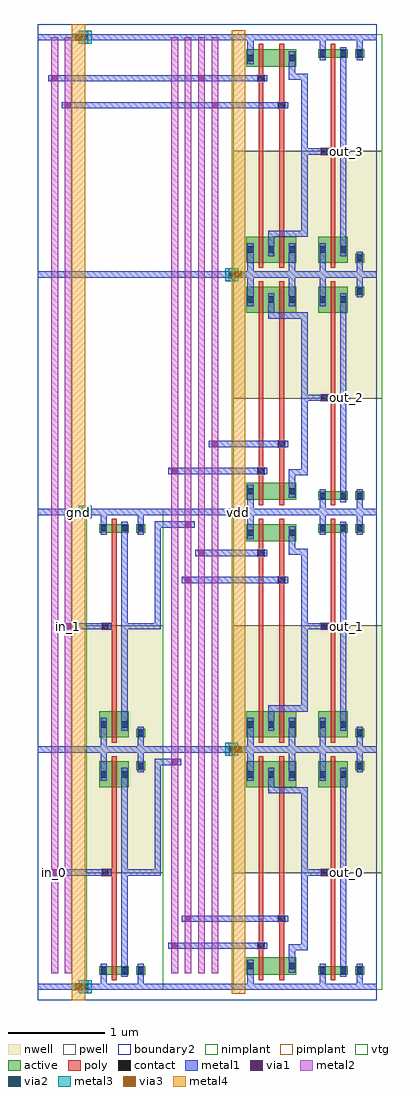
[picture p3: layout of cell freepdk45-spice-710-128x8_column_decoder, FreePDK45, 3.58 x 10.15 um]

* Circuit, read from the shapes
.subckt freepdk45-spice-710-128x8_column_decoder gnd in_0 in_1 out_0 out_1 out_2 out_3 vdd
M1 freepdk45-spice-710-128x8_hierarchical_predecode2x4_0_0/freepdk45-spice-710-128x8_pand2_2/A in_0 gnd gnd nfet w=0.09u l=0.05u
M2 freepdk45-spice-710-128x8_hierarchical_predecode2x4_0_0/freepdk45-spice-710-128x8_pand2_2/B in_1 gnd gnd nfet w=0.09u l=0.05u
M3 freepdk45-spice-710-128x8_hierarchical_predecode2x4_0_0/freepdk45-spice-710-128x8_pand2_2/freepdk45-spice-710-128x8_pnand2_0_0/freepdk45-spice-710-128x8_nmos_m1_w0_180_sm1_dactive_2/D freepdk45-spice-710-128x8_hierarchical_predecode2x4_0_0/freepdk45-spice-710-128x8_pand2_2/A gnd gnd nfet w=0.18u l=0.05u
M4 freepdk45-spice-710-128x8_hierarchical_predecode2x4_0_0/freepdk45-spice-710-128x8_pand2_3/freepdk45-spice-710-128x8_pnand2_0_0/freepdk45-spice-710-128x8_nmos_m1_w0_180_sm1_dactive_2/D in_0 gnd gnd nfet w=0.18u l=0.05u
M5 freepdk45-spice-710-128x8_hierarchical_predecode2x4_0_0/freepdk45-spice-710-128x8_pand2_4/freepdk45-spice-710-128x8_pnand2_0_0/freepdk45-spice-710-128x8_nmos_m1_w0_180_sm1_dactive_2/D freepdk45-spice-710-128x8_hierarchical_predecode2x4_0_0/freepdk45-spice-710-128x8_pand2_2/A gnd gnd nfet w=0.18u l=0.05u
M6 freepdk45-spice-710-128x8_hierarchical_predecode2x4_0_0/freepdk45-spice-710-128x8_pand2_5/freepdk45-spice-710-128x8_pnand2_0_0/freepdk45-spice-710-128x8_nmos_m1_w0_180_sm1_dactive_2/D in_0 gnd gnd nfet w=0.18u l=0.05u
M7 freepdk45-spice-710-128x8_hierarchical_predecode2x4_0_0/freepdk45-spice-710-128x8_pand2_2/freepdk45-spice-710-128x8_pdriver_1/A freepdk45-spice-710-128x8_hierarchical_predecode2x4_0_0/freepdk45-spice-710-128x8_pand2_2/B freepdk45-spice-710-128x8_hierarchical_predecode2x4_0_0/freepdk45-spice-710-128x8_pand2_2/freepdk45-spice-710-128x8_pnand2_0_0/freepdk45-spice-710-128x8_nmos_m1_w0_180_sm1_dactive_2/D gnd nfet w=0.18u l=0.05u
M8 freepdk45-spice-710-128x8_hierarchical_predecode2x4_0_0/freepdk45-spice-710-128x8_pand2_3/freepdk45-spice-710-128x8_pdriver_1/A freepdk45-spice-710-128x8_hierarchical_predecode2x4_0_0/freepdk45-spice-710-128x8_pand2_2/B freepdk45-spice-710-128x8_hierarchical_predecode2x4_0_0/freepdk45-spice-710-128x8_pand2_3/freepdk45-spice-710-128x8_pnand2_0_0/freepdk45-spice-710-128x8_nmos_m1_w0_180_sm1_dactive_2/D gnd nfet w=0.18u l=0.05u
M9 freepdk45-spice-710-128x8_hierarchical_predecode2x4_0_0/freepdk45-spice-710-128x8_pand2_4/freepdk45-spice-710-128x8_pdriver_1/A in_1 freepdk45-spice-710-128x8_hierarchical_predecode2x4_0_0/freepdk45-spice-710-128x8_pand2_4/freepdk45-spice-710-128x8_pnand2_0_0/freepdk45-spice-710-128x8_nmos_m1_w0_180_sm1_dactive_2/D gnd nfet w=0.18u l=0.05u
M10 freepdk45-spice-710-128x8_hierarchical_predecode2x4_0_0/freepdk45-spice-710-128x8_pand2_5/freepdk45-spice-710-128x8_pdriver_1/A in_1 freepdk45-spice-710-128x8_hierarchical_predecode2x4_0_0/freepdk45-spice-710-128x8_pand2_5/freepdk45-spice-710-128x8_pnand2_0_0/freepdk45-spice-710-128x8_nmos_m1_w0_180_sm1_dactive_2/D gnd nfet w=0.18u l=0.05u
M11 out_0 freepdk45-spice-710-128x8_hierarchical_predecode2x4_0_0/freepdk45-spice-710-128x8_pand2_2/freepdk45-spice-710-128x8_pdriver_1/A gnd gnd nfet w=0.09u l=0.05u
M12 out_1 freepdk45-spice-710-128x8_hierarchical_predecode2x4_0_0/freepdk45-spice-710-128x8_pand2_3/freepdk45-spice-710-128x8_pdriver_1/A gnd gnd nfet w=0.09u l=0.05u
M13 out_2 freepdk45-spice-710-128x8_hierarchical_predecode2x4_0_0/freepdk45-spice-710-128x8_pand2_4/freepdk45-spice-710-128x8_pdriver_1/A gnd gnd nfet w=0.09u l=0.05u
M14 out_3 freepdk45-spice-710-128x8_hierarchical_predecode2x4_0_0/freepdk45-spice-710-128x8_pand2_5/freepdk45-spice-710-128x8_pdriver_1/A gnd gnd nfet w=0.09u l=0.05u
M15 freepdk45-spice-710-128x8_hierarchical_predecode2x4_0_0/freepdk45-spice-710-128x8_pand2_2/A in_0 vdd vdd pfet w=0.27u l=0.05u
M16 freepdk45-spice-710-128x8_hierarchical_predecode2x4_0_0/freepdk45-spice-710-128x8_pand2_2/B in_1 vdd vdd pfet w=0.27u l=0.05u
M17 freepdk45-spice-710-128x8_hierarchical_predecode2x4_0_0/freepdk45-spice-710-128x8_pand2_2/freepdk45-spice-710-128x8_pdriver_1/A freepdk45-spice-710-128x8_hierarchical_predecode2x4_0_0/freepdk45-spice-710-128x8_pand2_2/A vdd vdd pfet w=0.27u l=0.05u
M18 freepdk45-spice-710-128x8_hierarchical_predecode2x4_0_0/freepdk45-spice-710-128x8_pand2_3/freepdk45-spice-710-128x8_pdriver_1/A in_0 vdd vdd pfet w=0.27u l=0.05u
M19 freepdk45-spice-710-128x8_hierarchical_predecode2x4_0_0/freepdk45-spice-710-128x8_pand2_4/freepdk45-spice-710-128x8_pdriver_1/A freepdk45-spice-710-128x8_hierarchical_predecode2x4_0_0/freepdk45-spice-710-128x8_pand2_2/A vdd vdd pfet w=0.27u l=0.05u
M20 freepdk45-spice-710-128x8_hierarchical_predecode2x4_0_0/freepdk45-spice-710-128x8_pand2_5/freepdk45-spice-710-128x8_pdriver_1/A in_0 vdd vdd pfet w=0.27u l=0.05u
M21 vdd freepdk45-spice-710-128x8_hierarchical_predecode2x4_0_0/freepdk45-spice-710-128x8_pand2_2/B freepdk45-spice-710-128x8_hierarchical_predecode2x4_0_0/freepdk45-spice-710-128x8_pand2_2/freepdk45-spice-710-128x8_pdriver_1/A vdd pfet w=0.27u l=0.05u
M22 vdd freepdk45-spice-710-128x8_hierarchical_predecode2x4_0_0/freepdk45-spice-710-128x8_pand2_2/B freepdk45-spice-710-128x8_hierarchical_predecode2x4_0_0/freepdk45-spice-710-128x8_pand2_3/freepdk45-spice-710-128x8_pdriver_1/A vdd pfet w=0.27u l=0.05u
M23 vdd in_1 freepdk45-spice-710-128x8_hierarchical_predecode2x4_0_0/freepdk45-spice-710-128x8_pand2_4/freepdk45-spice-710-128x8_pdriver_1/A vdd pfet w=0.27u l=0.05u
M24 vdd in_1 freepdk45-spice-710-128x8_hierarchical_predecode2x4_0_0/freepdk45-spice-710-128x8_pand2_5/freepdk45-spice-710-128x8_pdriver_1/A vdd pfet w=0.27u l=0.05u
M25 out_0 freepdk45-spice-710-128x8_hierarchical_predecode2x4_0_0/freepdk45-spice-710-128x8_pand2_2/freepdk45-spice-710-128x8_pdriver_1/A vdd vdd pfet w=0.27u l=0.05u
M26 out_1 freepdk45-spice-710-128x8_hierarchical_predecode2x4_0_0/freepdk45-spice-710-128x8_pand2_3/freepdk45-spice-710-128x8_pdriver_1/A vdd vdd pfet w=0.27u l=0.05u
M27 out_2 freepdk45-spice-710-128x8_hierarchical_predecode2x4_0_0/freepdk45-spice-710-128x8_pand2_4/freepdk45-spice-710-128x8_pdriver_1/A vdd vdd pfet w=0.27u l=0.05u
M28 out_3 freepdk45-spice-710-128x8_hierarchical_predecode2x4_0_0/freepdk45-spice-710-128x8_pand2_5/freepdk45-spice-710-128x8_pdriver_1/A vdd vdd pfet w=0.27u l=0.05u
.ends

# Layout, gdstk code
import gdstk
lib = gdstk.Library(unit=1e-6, precision=5e-10)
def R(c, l, rs):  # rectangles x0, y0, x1, y1
    for r in rs: c.add(gdstk.rectangle(r[:2], r[2:], *l))
def A(c, l, x, y, w, h, nx, ny, dx, dy):  # array of equal rectangles
    R(c, l, [(x+i*dx, y+j*dy, x+i*dx+w, y+j*dy+h) for i in range(nx) for j in range(ny)])
active = (1, 0)
pwell = (2, 0)
nwell = (3, 0)
nimplant = (4, 0)
pimplant = (5, 0)
vtg = (6, 0)
poly = (9, 0)
contact = (10, 0)
metal1 = (11, 0)
via1 = (12, 0)
metal2 = (13, 0)
via2 = (14, 0)
metal3 = (15, 0)
via3 = (16, 0)
metal4 = (17, 0)
boundary2 = (239, 0)

freepdk45_spice_710_128x = lib.new_cell('freepdk45-spice-710-128x8_contact_11')
R(freepdk45_spice_710_128x, active, [(0,0.0225,0.09,0.1125)])
R(freepdk45_spice_710_128x, nwell, [(-0.055,-0.0325,0.145,0.1675)])
R(freepdk45_spice_710_128x, pimplant, [(0,0.0225,0.09,0.1125)])
R(freepdk45_spice_710_128x, contact, [(0.0125,0.035,0.0775,0.1)])
R(freepdk45_spice_710_128x, metal1, [(0.0125,0,0.0775,0.135)])
R(freepdk45_spice_710_128x, boundary2, [(-0.055,-0.0325,0.145,0.1675)])

c_freepdk45_spice_710_128x = lib.new_cell('freepdk45-spice-710-128x8_pmos_m1_w0_270_sm1_dm1_da_p')
R(c_freepdk45_spice_710_128x, active, [(0,0,0.305,0.27)])
R(c_freepdk45_spice_710_128x, nwell, [(-0.08,-0.08,0.385,0.35)])
R(c_freepdk45_spice_710_128x, pimplant, [(0,0,0.305,0.27)])
R(c_freepdk45_spice_710_128x, vtg, [(-0.08,-0.08,0.385,0.35)])
R(c_freepdk45_spice_710_128x, poly, [(0.1275,-0.055,0.1775,0.325), (0.1275,-0.055,0.1775,0.325)])
R(c_freepdk45_spice_710_128x, metal1, [(0.0125,0.0675,0.0775,0.2025), (0.2275,0.0675,0.2925,0.2025)])
R(c_freepdk45_spice_710_128x, boundary2, [(-0.08,-0.08,0.385,0.35)])
c_freepdk45_spice_710_128x.add(gdstk.Reference(freepdk45_spice_710_128x, (0,0.0675)))
c_freepdk45_spice_710_128x.add(gdstk.Reference(freepdk45_spice_710_128x, (0.215,0.0675)))
c_freepdk45_spice_710_128x.add(gdstk.Label('G', (0.1525,0.135), layer=9, texttype=0))
c_freepdk45_spice_710_128x.add(gdstk.Label('S', (0.045,0.135), layer=11, texttype=0))
c_freepdk45_spice_710_128x.add(gdstk.Label('D', (0.26,0.135), layer=11, texttype=0))

c_freepdk45_spice_710_128x_ = lib.new_cell('freepdk45-spice-710-128x8_contact_10')
R(c_freepdk45_spice_710_128x_, active, [(0,0.0225,0.09,0.1125)])
R(c_freepdk45_spice_710_128x_, pwell, [(-0.055,-0.0325,0.145,0.1675)])
R(c_freepdk45_spice_710_128x_, nimplant, [(0,0.0225,0.09,0.1125)])
R(c_freepdk45_spice_710_128x_, contact, [(0.0125,0.035,0.0775,0.1)])
R(c_freepdk45_spice_710_128x_, metal1, [(0.0125,0,0.0775,0.135)])
R(c_freepdk45_spice_710_128x_, boundary2, [(-0.055,-0.0325,0.145,0.1675)])

c_freepdk45_spice_710_128x__ = lib.new_cell('freepdk45-spice-710-128x8_nmos_m1_w0_090_sm1_dm1_da_p')
R(c_freepdk45_spice_710_128x__, active, [(0,0,0.305,0.09)])
R(c_freepdk45_spice_710_128x__, pwell, [(-0.08,-0.08,0.385,0.17)])
R(c_freepdk45_spice_710_128x__, nimplant, [(0,0,0.305,0.09)])
R(c_freepdk45_spice_710_128x__, vtg, [(-0.08,-0.08,0.385,0.17)])
R(c_freepdk45_spice_710_128x__, poly, [(0.1275,-0.055,0.1775,0.145), (0.1275,-0.055,0.1775,0.145)])
R(c_freepdk45_spice_710_128x__, metal1, [(0.0125,-0.0225,0.0775,0.1125), (0.2275,-0.0225,0.2925,0.1125)])
R(c_freepdk45_spice_710_128x__, boundary2, [(-0.08,-0.08,0.385,0.17)])
c_freepdk45_spice_710_128x__.add(gdstk.Reference(c_freepdk45_spice_710_128x_, (0,-0.0225)))
c_freepdk45_spice_710_128x__.add(gdstk.Reference(c_freepdk45_spice_710_128x_, (0.215,-0.0225)))
c_freepdk45_spice_710_128x__.add(gdstk.Label('G', (0.1525,0.045), layer=9, texttype=0))
c_freepdk45_spice_710_128x__.add(gdstk.Label('S', (0.045,0.045), layer=11, texttype=0))
c_freepdk45_spice_710_128x__.add(gdstk.Label('D', (0.26,0.045), layer=11, texttype=0))

c_freepdk45_spice_710_128x___ = lib.new_cell('freepdk45-spice-710-128x8_contact_12')
R(c_freepdk45_spice_710_128x___, active, [(0,0.0225,0.09,0.1125)])
R(c_freepdk45_spice_710_128x___, nwell, [(-0.055,-0.0325,0.145,0.1675)])
R(c_freepdk45_spice_710_128x___, nimplant, [(0,0.0225,0.09,0.1125)])
R(c_freepdk45_spice_710_128x___, contact, [(0.0125,0.035,0.0775,0.1)])
R(c_freepdk45_spice_710_128x___, metal1, [(0.0125,0,0.0775,0.135)])
R(c_freepdk45_spice_710_128x___, boundary2, [(-0.055,-0.0325,0.145,0.1675)])

c_freepdk45_spice_710_128x____ = lib.new_cell('freepdk45-spice-710-128x8_contact_13')
R(c_freepdk45_spice_710_128x____, active, [(0,0.0225,0.09,0.1125)])
R(c_freepdk45_spice_710_128x____, pwell, [(-0.055,-0.0325,0.145,0.1675)])
R(c_freepdk45_spice_710_128x____, pimplant, [(0,0.0225,0.09,0.1125)])
R(c_freepdk45_spice_710_128x____, contact, [(0.0125,0.035,0.0775,0.1)])
R(c_freepdk45_spice_710_128x____, metal1, [(0.0125,0,0.0775,0.135)])
R(c_freepdk45_spice_710_128x____, boundary2, [(-0.055,-0.0325,0.145,0.1675)])

c_freepdk45_spice_710_128x_____ = lib.new_cell('freepdk45-spice-710-128x8_contact_14')
R(c_freepdk45_spice_710_128x_____, poly, [(0.03,0,0.105,0.075)])
R(c_freepdk45_spice_710_128x_____, contact, [(0.035,0.005,0.1,0.07)])
R(c_freepdk45_spice_710_128x_____, metal1, [(0,0.005,0.135,0.07)])
R(c_freepdk45_spice_710_128x_____, boundary2, [(0,0,0.135,0.075)])

c_freepdk45_spice_710_128x______ = lib.new_cell('freepdk45-spice-710-128x8_pinv_2')
R(c_freepdk45_spice_710_128x______, pwell, [(-0.055,-0.0325,0.7425,1.185)])
R(c_freepdk45_spice_710_128x______, nwell, [(-0.055,1.185,0.7425,2.505)])
R(c_freepdk45_spice_710_128x______, vtg, [(-0.055,-0.0325,0.7425,1.185), (-0.055,1.185,0.7425,2.505)])
R(c_freepdk45_spice_710_128x______, poly, [(0.2075,0.27,0.2575,2.02), (0.14,1.1525,0.2075,1.2275)])
R(c_freepdk45_spice_710_128x______, metal1, [(0,-0.0325,0.6875,0.0325), (0.0925,-0.0325,0.1575,0.1025), (0.4775,0,0.5425,0.17), (0.3075,0.1025,0.3725,2.2775), (0.0725,1.1575,0.2075,1.2225), (0.34,1.1575,0.405,1.2225), (0.0925,2.1425,0.1575,2.5025), (0.4775,2.3,0.5425,2.47), (0,2.4375,0.6875,2.5025)])
R(c_freepdk45_spice_710_128x______, boundary2, [(0,0,0.6875,2.47), (0,0,0.6875,2.47)])
c_freepdk45_spice_710_128x______.add(gdstk.Reference(c_freepdk45_spice_710_128x, (0.08,2.075)))
c_freepdk45_spice_710_128x______.add(gdstk.Reference(c_freepdk45_spice_710_128x__, (0.08,0.125)))
c_freepdk45_spice_710_128x______.add(gdstk.Reference(c_freepdk45_spice_710_128x___, (0.465,2.2325)))
c_freepdk45_spice_710_128x______.add(gdstk.Reference(c_freepdk45_spice_710_128x____, (0.465,0.1025)))
c_freepdk45_spice_710_128x______.add(gdstk.Reference(c_freepdk45_spice_710_128x_____, (0.0725,1.1525)))
c_freepdk45_spice_710_128x______.add(gdstk.Label('A', (0.14,1.19), layer=11, texttype=0))
c_freepdk45_spice_710_128x______.add(gdstk.Label('Z', (0.3725,1.19), layer=11, texttype=0))
c_freepdk45_spice_710_128x______.add(gdstk.Label('gnd', (0.344,0), layer=11, texttype=0))
c_freepdk45_spice_710_128x______.add(gdstk.Label('vdd', (0.344,2.47), layer=11, texttype=0))

c_freepdk45_spice_710_128x_______ = lib.new_cell('freepdk45-spice-710-128x8_pmos_m1_w0_270_sm1_dm1')
R(c_freepdk45_spice_710_128x_______, active, [(0,0,0.305,0.27)])
R(c_freepdk45_spice_710_128x_______, nwell, [(-0.08,-0.08,0.385,0.35)])
R(c_freepdk45_spice_710_128x_______, pimplant, [(0,0,0.305,0.27)])
R(c_freepdk45_spice_710_128x_______, vtg, [(-0.08,-0.08,0.385,0.35)])
R(c_freepdk45_spice_710_128x_______, poly, [(0.1275,-0.055,0.1775,0.325), (0.1275,-0.055,0.1775,0.325)])
R(c_freepdk45_spice_710_128x_______, metal1, [(0.0125,0.0675,0.0775,0.2025), (0.2275,0.0675,0.2925,0.2025)])
R(c_freepdk45_spice_710_128x_______, boundary2, [(-0.08,-0.08,0.385,0.35)])
c_freepdk45_spice_710_128x_______.add(gdstk.Reference(freepdk45_spice_710_128x, (0,0.0675)))
c_freepdk45_spice_710_128x_______.add(gdstk.Reference(freepdk45_spice_710_128x, (0.215,0.0675)))
c_freepdk45_spice_710_128x_______.add(gdstk.Label('G', (0.1525,0.135), layer=9, texttype=0))
c_freepdk45_spice_710_128x_______.add(gdstk.Label('S', (0.045,0.135), layer=11, texttype=0))
c_freepdk45_spice_710_128x_______.add(gdstk.Label('D', (0.26,0.135), layer=11, texttype=0))

c_freepdk45_spice_710_128x________ = lib.new_cell('freepdk45-spice-710-128x8_nmos_m1_w0_180_sm1_dactive')
R(c_freepdk45_spice_710_128x________, active, [(0,0,0.305,0.18), (0.215,0.045,0.305,0.135)])
R(c_freepdk45_spice_710_128x________, pwell, [(-0.08,-0.08,0.385,0.26)])
R(c_freepdk45_spice_710_128x________, nimplant, [(0,0,0.305,0.18)])
R(c_freepdk45_spice_710_128x________, vtg, [(-0.08,-0.08,0.385,0.26)])
R(c_freepdk45_spice_710_128x________, poly, [(0.1275,-0.055,0.1775,0.235), (0.1275,-0.055,0.1775,0.235)])
R(c_freepdk45_spice_710_128x________, metal1, [(0.0125,0.0225,0.0775,0.1575)])
R(c_freepdk45_spice_710_128x________, boundary2, [(-0.08,-0.08,0.385,0.26)])
c_freepdk45_spice_710_128x________.add(gdstk.Reference(c_freepdk45_spice_710_128x_, (0,0.0225)))
c_freepdk45_spice_710_128x________.add(gdstk.Label('G', (0.1525,0.09), layer=9, texttype=0))
c_freepdk45_spice_710_128x________.add(gdstk.Label('S', (0.045,0.09), layer=11, texttype=0))
c_freepdk45_spice_710_128x________.add(gdstk.Label('D', (0.26,0.09), layer=1, texttype=0))

c_freepdk45_spice_710_128x_________ = lib.new_cell('freepdk45-spice-710-128x8_nmos_m1_w0_180_sactive_dm1')
R(c_freepdk45_spice_710_128x_________, active, [(0,0,0.305,0.18), (0,0.045,0.09,0.135)])
R(c_freepdk45_spice_710_128x_________, pwell, [(-0.08,-0.08,0.385,0.26)])
R(c_freepdk45_spice_710_128x_________, nimplant, [(0,0,0.305,0.18)])
R(c_freepdk45_spice_710_128x_________, vtg, [(-0.08,-0.08,0.385,0.26)])
R(c_freepdk45_spice_710_128x_________, poly, [(0.1275,-0.055,0.1775,0.235), (0.1275,-0.055,0.1775,0.235)])
R(c_freepdk45_spice_710_128x_________, metal1, [(0.2275,0.0225,0.2925,0.1575)])
R(c_freepdk45_spice_710_128x_________, boundary2, [(-0.08,-0.08,0.385,0.26)])
c_freepdk45_spice_710_128x_________.add(gdstk.Reference(c_freepdk45_spice_710_128x_, (0.215,0.0225)))
c_freepdk45_spice_710_128x_________.add(gdstk.Label('G', (0.1525,0.09), layer=9, texttype=0))
c_freepdk45_spice_710_128x_________.add(gdstk.Label('S', (0.045,0.09), layer=1, texttype=0))
c_freepdk45_spice_710_128x_________.add(gdstk.Label('D', (0.26,0.09), layer=11, texttype=0))

c_freepdk45_spice_710_128x__________ = lib.new_cell('freepdk45-spice-710-128x8_pnand2_0')
R(c_freepdk45_spice_710_128x__________, pwell, [(-0.055,-0.0325,0.805,1.185)])
R(c_freepdk45_spice_710_128x__________, nwell, [(-0.055,1.185,0.805,2.505)])
R(c_freepdk45_spice_710_128x__________, vtg, [(-0.055,-0.0325,0.805,1.185), (-0.055,1.185,0.805,2.505)])
R(c_freepdk45_spice_710_128x__________, poly, [(0.2075,0.36,0.2575,2.02), (0.4225,0.36,0.4725,2.02), (0.2075,0.39,0.2325,0.465), (0.4225,0.67,0.4475,0.745)])
R(c_freepdk45_spice_710_128x__________, metal1, [(0,-0.0325,0.75,0.0325), (0.0925,-0.0325,0.1575,0.1475), (0.5225,0.2825,0.5875,0.4125), (0.5225,0.38,0.5875,0.445), (0.555,0.38,0.685,0.445), (0.6525,0.38,0.7175,0.445), (0.165,0.395,0.3,0.46), (0.6525,0.4125,0.7175,2.045), (0.38,0.675,0.515,0.74), (0.3075,2.0125,0.3725,2.0775), (0.34,2.0125,0.685,2.0775), (0.6525,2.0125,0.7175,2.0775), (0.3075,2.045,0.3725,2.1425), (0.0925,2.1425,0.1575,2.5025), (0.5225,2.1425,0.5875,2.5025), (0,2.4375,0.75,2.5025)])
R(c_freepdk45_spice_710_128x__________, boundary2, [(0,0,0.75,2.47), (0,0,0.75,2.47)])
c_freepdk45_spice_710_128x__________.add(gdstk.Reference(c_freepdk45_spice_710_128x_______, (0.08,2.075)))
c_freepdk45_spice_710_128x__________.add(gdstk.Reference(c_freepdk45_spice_710_128x_______, (0.295,2.075)))
c_freepdk45_spice_710_128x__________.add(gdstk.Reference(c_freepdk45_spice_710_128x________, (0.08,0.125)))
c_freepdk45_spice_710_128x__________.add(gdstk.Reference(c_freepdk45_spice_710_128x_________, (0.295,0.125)))
c_freepdk45_spice_710_128x__________.add(gdstk.Reference(c_freepdk45_spice_710_128x_____, (0.165,0.39)))
c_freepdk45_spice_710_128x__________.add(gdstk.Reference(c_freepdk45_spice_710_128x_____, (0.38,0.67)))
c_freepdk45_spice_710_128x__________.add(gdstk.Label('Z', (0.685,2.045), layer=11, texttype=0))
c_freepdk45_spice_710_128x__________.add(gdstk.Label('gnd', (0.375,0), layer=11, texttype=0))
c_freepdk45_spice_710_128x__________.add(gdstk.Label('vdd', (0.375,2.47), layer=11, texttype=0))
c_freepdk45_spice_710_128x__________.add(gdstk.Label('A', (0.2325,0.4275), layer=11, texttype=0))
c_freepdk45_spice_710_128x__________.add(gdstk.Label('B', (0.4475,0.7075), layer=11, texttype=0))

c_freepdk45_spice_710_128x___________ = lib.new_cell('freepdk45-spice-710-128x8_pinv_1')
R(c_freepdk45_spice_710_128x___________, pwell, [(-0.055,-0.0325,0.7425,1.185)])
R(c_freepdk45_spice_710_128x___________, nwell, [(-0.055,1.185,0.7425,2.505)])
R(c_freepdk45_spice_710_128x___________, vtg, [(-0.055,-0.0325,0.7425,1.185), (-0.055,1.185,0.7425,2.505)])
R(c_freepdk45_spice_710_128x___________, poly, [(0.2075,0.27,0.2575,2.02), (0.14,1.1525,0.2075,1.2275)])
R(c_freepdk45_spice_710_128x___________, metal1, [(0,-0.0325,0.6875,0.0325), (0.0925,-0.0325,0.1575,0.1025), (0.4775,0,0.5425,0.17), (0.3075,0.1025,0.3725,2.2775), (0.0725,1.1575,0.2075,1.2225), (0.34,1.1575,0.405,1.2225), (0.0925,2.1425,0.1575,2.5025), (0.4775,2.3,0.5425,2.47), (0,2.4375,0.6875,2.5025)])
R(c_freepdk45_spice_710_128x___________, boundary2, [(0,0,0.6875,2.47), (0,0,0.6875,2.47)])
c_freepdk45_spice_710_128x___________.add(gdstk.Reference(c_freepdk45_spice_710_128x, (0.08,2.075)))
c_freepdk45_spice_710_128x___________.add(gdstk.Reference(c_freepdk45_spice_710_128x__, (0.08,0.125)))
c_freepdk45_spice_710_128x___________.add(gdstk.Reference(c_freepdk45_spice_710_128x___, (0.465,2.2325)))
c_freepdk45_spice_710_128x___________.add(gdstk.Reference(c_freepdk45_spice_710_128x____, (0.465,0.1025)))
c_freepdk45_spice_710_128x___________.add(gdstk.Reference(c_freepdk45_spice_710_128x_____, (0.0725,1.1525)))
c_freepdk45_spice_710_128x___________.add(gdstk.Label('A', (0.14,1.19), layer=11, texttype=0))
c_freepdk45_spice_710_128x___________.add(gdstk.Label('Z', (0.3725,1.19), layer=11, texttype=0))
c_freepdk45_spice_710_128x___________.add(gdstk.Label('gnd', (0.344,0), layer=11, texttype=0))
c_freepdk45_spice_710_128x___________.add(gdstk.Label('vdd', (0.344,2.47), layer=11, texttype=0))

c_freepdk45_spice_710_128x____________ = lib.new_cell('freepdk45-spice-710-128x8_pdriver')
R(c_freepdk45_spice_710_128x____________, pwell, [(-0.055,-0.0325,0.7425,1.185)])
R(c_freepdk45_spice_710_128x____________, nwell, [(-0.055,1.185,0.7425,2.505)])
R(c_freepdk45_spice_710_128x____________, vtg, [(-0.055,-0.0325,0.7425,1.185), (-0.055,1.185,0.7425,2.505)])
R(c_freepdk45_spice_710_128x____________, metal1, [(0,-0.0325,0.6875,0.0325), (0.0725,1.1575,0.2075,1.2225), (0.34,1.1575,0.405,1.2225), (0,2.4375,0.6875,2.5025)])
R(c_freepdk45_spice_710_128x____________, boundary2, [(0,0,0.6875,2.47), (0,0,0.6875,2.47)])
c_freepdk45_spice_710_128x____________.add(gdstk.Reference(c_freepdk45_spice_710_128x___________, (0,0)))
c_freepdk45_spice_710_128x____________.add(gdstk.Label('Z', (0.3725,1.19), layer=11, texttype=0))
c_freepdk45_spice_710_128x____________.add(gdstk.Label('A', (0.14,1.19), layer=11, texttype=0))
c_freepdk45_spice_710_128x____________.add(gdstk.Label('gnd', (0.344,0), layer=11, texttype=0))
c_freepdk45_spice_710_128x____________.add(gdstk.Label('vdd', (0.344,2.47), layer=11, texttype=0))

c_freepdk45_spice_710_128x_____________ = lib.new_cell('freepdk45-spice-710-128x8_pand2')
R(c_freepdk45_spice_710_128x_____________, metal1, [(0,-0.0325,1.4375,0.0325), (0.165,0.395,0.3,0.46), (0.38,0.675,0.515,0.74), (0.6525,1.1575,0.7175,1.2225), (0.685,1.1575,0.89,1.2225), (1.09,1.1575,1.155,1.2225), (0.6525,1.19,0.7175,2.045), (0,2.4375,1.4375,2.5025)])
R(c_freepdk45_spice_710_128x_____________, boundary2, [(0,0,1.4375,2.47), (0,0,1.4375,2.47)])
c_freepdk45_spice_710_128x_____________.add(gdstk.Reference(c_freepdk45_spice_710_128x__________, (0,0)))
c_freepdk45_spice_710_128x_____________.add(gdstk.Reference(c_freepdk45_spice_710_128x____________, (0.75,0)))
c_freepdk45_spice_710_128x_____________.add(gdstk.Label('Z', (1.1225,1.19), layer=11, texttype=0))
c_freepdk45_spice_710_128x_____________.add(gdstk.Label('A', (0.2325,0.4275), layer=11, texttype=0))
c_freepdk45_spice_710_128x_____________.add(gdstk.Label('B', (0.4475,0.7075), layer=11, texttype=0))
c_freepdk45_spice_710_128x_____________.add(gdstk.Label('gnd', (0.719,0), layer=11, texttype=0))
c_freepdk45_spice_710_128x_____________.add(gdstk.Label('vdd', (0.719,2.47), layer=11, texttype=0))

c_freepdk45_spice_710_128x______________ = lib.new_cell('freepdk45-spice-710-128x8_contact_15')
R(c_freepdk45_spice_710_128x______________, metal1, [(0,0.035,0.135,0.1)])
R(c_freepdk45_spice_710_128x______________, via1, [(0.035,0.035,0.1,0.1)])
R(c_freepdk45_spice_710_128x______________, metal2, [(0.0325,0,0.1025,0.135)])
R(c_freepdk45_spice_710_128x______________, boundary2, [(0,0,0.135,0.135)])

c_freepdk45_spice_710_128x_______________ = lib.new_cell('freepdk45-spice-710-128x8_contact_17')
R(c_freepdk45_spice_710_128x_______________, metal1, [(0,0.035,0.135,0.1)])
R(c_freepdk45_spice_710_128x_______________, via1, [(0.035,0.035,0.1,0.1)])
R(c_freepdk45_spice_710_128x_______________, metal2, [(0.0325,0,0.1025,0.135)])
R(c_freepdk45_spice_710_128x_______________, boundary2, [(0,0,0.135,0.135)])

c_freepdk45_spice_710_128x________________ = lib.new_cell('freepdk45-spice-710-128x8_contact_18')
R(c_freepdk45_spice_710_128x________________, metal2, [(0.0325,0,0.1025,0.135)])
R(c_freepdk45_spice_710_128x________________, via2, [(0.035,0.035,0.1,0.1)])
R(c_freepdk45_spice_710_128x________________, metal3, [(0,0.0325,0.135,0.1025)])
R(c_freepdk45_spice_710_128x________________, boundary2, [(0,0,0.135,0.135)])

c_freepdk45_spice_710_128x_________________ = lib.new_cell('freepdk45-spice-710-128x8_hierarchical_predecode2x4_0')
R(c_freepdk45_spice_710_128x_________________, metal1, [(0,-0.0325,3.525,0.0325), (1.4225,0.395,2.32,0.46), (2.2875,0.395,2.3525,0.46), (1.5625,0.675,2.535,0.74), (2.5025,0.675,2.5675,0.74), (0.175,1.1575,0.7,1.2225), (0.6675,1.1575,0.7325,1.2225), (0.9325,1.1575,0.9975,1.2225), (0.965,1.1575,1.2475,1.2225), (1.215,1.1575,1.28,1.2225), (3.1775,1.1575,3.2425,1.2225), (1.215,1.19,1.28,2.34), (1.215,2.3075,1.28,2.3725), (1.2475,2.3075,1.4225,2.3725), (0,2.4375,3.525,2.5025), (0,2.4375,3.525,2.5025), (0.315,3.7175,0.7,3.7825), (0.6675,3.7175,0.7325,3.7825), (0.9325,3.7175,0.9975,3.7825), (0.965,3.7175,1.2475,3.7825), (1.215,3.7175,1.28,3.7825), (3.1775,3.7175,3.2425,3.7825), (1.215,3.75,1.28,4.81), (1.5625,4.2,2.535,4.265), (2.5025,4.2,2.5675,4.265), (1.7025,4.48,2.32,4.545), (2.2875,4.48,2.3525,4.545), (1.215,4.7775,1.28,4.8425), (1.2475,4.7775,1.5625,4.8425), (0,4.9075,3.525,4.9725), (0,4.9075,3.525,4.9725), (1.4225,5.335,2.32,5.4), (2.2875,5.335,2.3525,5.4), (1.8425,5.615,2.535,5.68), (2.5025,5.615,2.5675,5.68), (3.1775,6.0975,3.2425,6.1625), (0,7.3775,3.525,7.4425), (0,7.3775,3.525,7.4425), (3.1775,8.6575,3.2425,8.7225), (0.315,9.14,1.8425,9.205), (1.8425,9.14,2.535,9.205), (2.5025,9.14,2.5675,9.205), (0.175,9.42,1.7025,9.485), (1.7025,9.42,2.32,9.485), (2.2875,9.42,2.3525,9.485), (0,9.8475,3.525,9.9125)])
A(c_freepdk45_spice_710_128x_________________, metal2, 1.3875, 0.14, 0.07, 9.74, 4, 1, 0.14, 0)
R(c_freepdk45_spice_710_128x_________________, metal2, [(0.14,0.14,0.21,9.88), (0.28,0.14,0.35,9.88), (0.14,1.1225,0.21,1.2575), (0.28,3.6825,0.35,3.8175)])
A(c_freepdk45_spice_710_128x_________________, metal3, 0.4225, -0.0675, 0.135, 0.135, 1, 3, 0, 4.94)
R(c_freepdk45_spice_710_128x_________________, metal3, [(1.95,2.4025,2.085,2.5375), (1.95,7.3425,2.085,7.4775)])
R(c_freepdk45_spice_710_128x_________________, boundary2, [(0,0,3.525,9.88)])
c_freepdk45_spice_710_128x_________________.add(gdstk.Reference(c_freepdk45_spice_710_128x______, (0.56,0)))
c_freepdk45_spice_710_128x_________________.add(gdstk.Reference(c_freepdk45_spice_710_128x______, (0.56,4.94), x_reflection=True))
c_freepdk45_spice_710_128x_________________.add(gdstk.Reference(c_freepdk45_spice_710_128x_____________, (2.0875,0)))
c_freepdk45_spice_710_128x_________________.add(gdstk.Reference(c_freepdk45_spice_710_128x_____________, (2.0875,4.94), x_reflection=True))
c_freepdk45_spice_710_128x_________________.add(gdstk.Reference(c_freepdk45_spice_710_128x_____________, (2.0875,4.94)))
c_freepdk45_spice_710_128x_________________.add(gdstk.Reference(c_freepdk45_spice_710_128x_____________, (2.0875,9.88), x_reflection=True))
c_freepdk45_spice_710_128x_________________.add(gdstk.Reference(c_freepdk45_spice_710_128x______________, (0.1075,1.1225)))
c_freepdk45_spice_710_128x_________________.add(gdstk.Reference(c_freepdk45_spice_710_128x______________, (0.2475,3.6825)))
c_freepdk45_spice_710_128x_________________.add(gdstk.Reference(c_freepdk45_spice_710_128x______________, (1.355,0.36)))
c_freepdk45_spice_710_128x_________________.add(gdstk.Reference(c_freepdk45_spice_710_128x______________, (1.495,0.64)))
c_freepdk45_spice_710_128x_________________.add(gdstk.Reference(c_freepdk45_spice_710_128x______________, (1.635,4.445)))
c_freepdk45_spice_710_128x_________________.add(gdstk.Reference(c_freepdk45_spice_710_128x______________, (1.495,4.165)))
c_freepdk45_spice_710_128x_________________.add(gdstk.Reference(c_freepdk45_spice_710_128x______________, (1.355,5.3)))
c_freepdk45_spice_710_128x_________________.add(gdstk.Reference(c_freepdk45_spice_710_128x______________, (1.775,5.58)))
c_freepdk45_spice_710_128x_________________.add(gdstk.Reference(c_freepdk45_spice_710_128x______________, (1.635,9.385)))
c_freepdk45_spice_710_128x_________________.add(gdstk.Reference(c_freepdk45_spice_710_128x______________, (1.775,9.105)))
c_freepdk45_spice_710_128x_________________.add(gdstk.Reference(c_freepdk45_spice_710_128x______________, (1.355,2.2725)))
c_freepdk45_spice_710_128x_________________.add(gdstk.Reference(c_freepdk45_spice_710_128x______________, (1.495,4.7425)))
c_freepdk45_spice_710_128x_________________.add(gdstk.Reference(c_freepdk45_spice_710_128x_______________, (0.1075,9.385)))
c_freepdk45_spice_710_128x_________________.add(gdstk.Reference(c_freepdk45_spice_710_128x_______________, (1.635,9.385)))
c_freepdk45_spice_710_128x_________________.add(gdstk.Reference(c_freepdk45_spice_710_128x_______________, (0.2475,9.105)))
c_freepdk45_spice_710_128x_________________.add(gdstk.Reference(c_freepdk45_spice_710_128x_______________, (1.775,9.105)))
c_freepdk45_spice_710_128x_________________.add(gdstk.Reference(c_freepdk45_spice_710_128x_______________, (1.95,2.4025)))
c_freepdk45_spice_710_128x_________________.add(gdstk.Reference(c_freepdk45_spice_710_128x________________, (1.95,2.4025)))
c_freepdk45_spice_710_128x_________________.add(gdstk.Reference(c_freepdk45_spice_710_128x_______________, (0.4225,-0.0675)))
c_freepdk45_spice_710_128x_________________.add(gdstk.Reference(c_freepdk45_spice_710_128x________________, (0.4225,-0.0675)))
c_freepdk45_spice_710_128x_________________.add(gdstk.Reference(c_freepdk45_spice_710_128x_______________, (1.95,2.4025)))
c_freepdk45_spice_710_128x_________________.add(gdstk.Reference(c_freepdk45_spice_710_128x________________, (1.95,2.4025)))
c_freepdk45_spice_710_128x_________________.add(gdstk.Reference(c_freepdk45_spice_710_128x_______________, (0.4225,4.8725)))
c_freepdk45_spice_710_128x_________________.add(gdstk.Reference(c_freepdk45_spice_710_128x________________, (0.4225,4.8725)))
c_freepdk45_spice_710_128x_________________.add(gdstk.Reference(c_freepdk45_spice_710_128x_______________, (1.95,7.3425)))
c_freepdk45_spice_710_128x_________________.add(gdstk.Reference(c_freepdk45_spice_710_128x________________, (1.95,7.3425)))
c_freepdk45_spice_710_128x_________________.add(gdstk.Reference(c_freepdk45_spice_710_128x_______________, (0.4225,4.8725)))
c_freepdk45_spice_710_128x_________________.add(gdstk.Reference(c_freepdk45_spice_710_128x________________, (0.4225,4.8725)))
c_freepdk45_spice_710_128x_________________.add(gdstk.Reference(c_freepdk45_spice_710_128x_______________, (1.95,7.3425)))
c_freepdk45_spice_710_128x_________________.add(gdstk.Reference(c_freepdk45_spice_710_128x________________, (1.95,7.3425)))
c_freepdk45_spice_710_128x_________________.add(gdstk.Reference(c_freepdk45_spice_710_128x_______________, (0.4225,9.8125)))
c_freepdk45_spice_710_128x_________________.add(gdstk.Reference(c_freepdk45_spice_710_128x________________, (0.4225,9.8125)))
c_freepdk45_spice_710_128x_________________.add(gdstk.Label('in_0', (0.175,1.19), layer=13, texttype=0))
c_freepdk45_spice_710_128x_________________.add(gdstk.Label('in_1', (0.315,3.75), layer=13, texttype=0))
c_freepdk45_spice_710_128x_________________.add(gdstk.Label('out_0', (3.21,1.19), layer=11, texttype=0))
c_freepdk45_spice_710_128x_________________.add(gdstk.Label('out_1', (3.21,3.75), layer=11, texttype=0))
c_freepdk45_spice_710_128x_________________.add(gdstk.Label('out_2', (3.21,6.13), layer=11, texttype=0))
c_freepdk45_spice_710_128x_________________.add(gdstk.Label('out_3', (3.21,8.69), layer=11, texttype=0))
c_freepdk45_spice_710_128x_________________.add(gdstk.Label('vdd', (2.0175,2.47), layer=15, texttype=0))
c_freepdk45_spice_710_128x_________________.add(gdstk.Label('vdd', (2.0175,7.41), layer=15, texttype=0))
c_freepdk45_spice_710_128x_________________.add(gdstk.Label('gnd', (0.49,9.88), layer=15, texttype=0))
c_freepdk45_spice_710_128x_________________.add(gdstk.Label('gnd', (0.49,4.94), layer=15, texttype=0))
c_freepdk45_spice_710_128x_________________.add(gdstk.Label('gnd', (0.49,0), layer=15, texttype=0))

c_freepdk45_spice_710_128x__________________ = lib.new_cell('freepdk45-spice-710-128x8_contact_21')
R(c_freepdk45_spice_710_128x__________________, metal3, [(0,0.035,0.14,0.105)])
R(c_freepdk45_spice_710_128x__________________, via3, [(0.035,0.035,0.105,0.105)])
R(c_freepdk45_spice_710_128x__________________, metal4, [(0,0,0.14,0.14)])
R(c_freepdk45_spice_710_128x__________________, boundary2, [(0,0,0.14,0.14)])

c_freepdk45_spice_710_128x___________________ = lib.new_cell('freepdk45-spice-710-128x8_column_decoder')
R(c_freepdk45_spice_710_128x___________________, metal1, [(3.1775,1.1575,3.2425,1.2225), (3.1775,3.7175,3.2425,3.7825), (3.1775,6.0975,3.2425,6.1625), (3.1775,8.6575,3.2425,8.7225)])
R(c_freepdk45_spice_710_128x___________________, metal2, [(0.14,1.1225,0.21,1.2575), (0.28,3.6825,0.35,3.8175)])
R(c_freepdk45_spice_710_128x___________________, metal4, [(0.3525,-0.1375,0.4925,10.0175), (2.015,-0.07,2.155,9.95)])
R(c_freepdk45_spice_710_128x___________________, boundary2, [(0,-0.1375,3.525,10.0175)])
c_freepdk45_spice_710_128x___________________.add(gdstk.Reference(c_freepdk45_spice_710_128x_________________, (0,0)))
c_freepdk45_spice_710_128x___________________.add(gdstk.Reference(c_freepdk45_spice_710_128x__________________, (2.015,2.4)))
c_freepdk45_spice_710_128x___________________.add(gdstk.Reference(c_freepdk45_spice_710_128x__________________, (2.015,7.34)))
c_freepdk45_spice_710_128x___________________.add(gdstk.Reference(c_freepdk45_spice_710_128x__________________, (0.3525,9.81)))
c_freepdk45_spice_710_128x___________________.add(gdstk.Reference(c_freepdk45_spice_710_128x__________________, (0.3525,4.87)))
c_freepdk45_spice_710_128x___________________.add(gdstk.Reference(c_freepdk45_spice_710_128x__________________, (0.3525,-0.07)))
c_freepdk45_spice_710_128x___________________.add(gdstk.Label('in_0', (0.175,1.19), layer=13, texttype=0))
c_freepdk45_spice_710_128x___________________.add(gdstk.Label('in_1', (0.315,3.75), layer=13, texttype=0))
c_freepdk45_spice_710_128x___________________.add(gdstk.Label('out_0', (3.21,1.19), layer=11, texttype=0))
c_freepdk45_spice_710_128x___________________.add(gdstk.Label('out_1', (3.21,3.75), layer=11, texttype=0))
c_freepdk45_spice_710_128x___________________.add(gdstk.Label('out_2', (3.21,6.13), layer=11, texttype=0))
c_freepdk45_spice_710_128x___________________.add(gdstk.Label('out_3', (3.21,8.69), layer=11, texttype=0))
c_freepdk45_spice_710_128x___________________.add(gdstk.Label('vdd', (2.085,4.94), layer=17, texttype=0))
c_freepdk45_spice_710_128x___________________.add(gdstk.Label('gnd', (0.4225,4.94), layer=17, texttype=0))

lib.write_gds('freepdk45-spice-710-128x8_column_decoder.gds')
